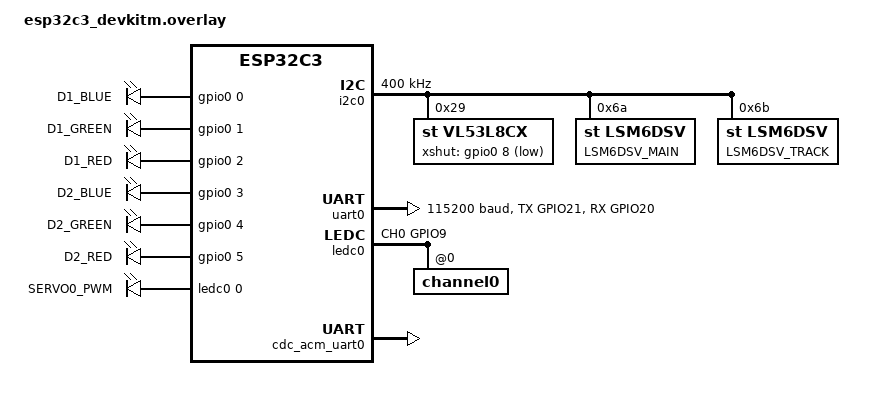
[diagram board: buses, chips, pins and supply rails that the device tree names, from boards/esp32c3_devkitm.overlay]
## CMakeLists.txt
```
cmake_minimum_required(VERSION 3.20.0)

find_package(Zephyr REQUIRED HINTS $ENV{ZEPHYR_BASE})
project(scanner VERSION 0.1.0)

# VL53L8CX ULD sources - clone from:
#   https://github.com/STMicroelectronics/VL53L8CX_ULD_driver
# and place under lib/vl53l8cx_uld/
set(VL53L8CX_ULD_DIR ${CMAKE_CURRENT_SOURCE_DIR}/lib/vl53l8cx_uld)
set(VL53L8CX_ULD_SOURCES
    ${VL53L8CX_ULD_DIR}/vl53l8cx_api.c
    ${VL53L8CX_ULD_DIR}/platform.c
    ${VL53L8CX_ULD_DIR}/vl53l8cx_plugin_detection_thresholds.c
    ${VL53L8CX_ULD_DIR}/vl53l8cx_plugin_motion_indicator.c
    ${VL53L8CX_ULD_DIR}/vl53l8cx_plugin_xtalk.c
)

target_sources(app PRIVATE
    src/main.c
    src/work_queues.c
    src/protocol.c
    src/wifi_mgr.c
    src/uart_aux.c
    src/led/led_ctrl.c
    src/servo/servo_ctrl.c
    src/vl53l8cx/vl53l8cx_driver.c
    src/lsm6dsv/lsm6dsv_driver.c
    src/output/data_output.c
    src/output/udp_out.c
    src/output/usb_serial.c
    ${VL53L8CX_ULD_SOURCES}
)

target_include_directories(app PRIVATE
    src
    src/vl53l8cx
    src/lsm6dsv
    src/led
    src/servo
    src/output
    ${VL53L8CX_ULD_DIR}
)

# Let the ULD find our platform header
target_compile_definitions(app PRIVATE
    VL53L8CX_ULD_CUSTOM_PLATFORM=1
)
```

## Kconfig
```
mainmenu "scann3d Configuration"

source "Kconfig.zephyr"

config SCANNER_WIFI_SSID
    string "WiFi SSID"
    default "my_network"

config SCANNER_WIFI_PSK
    string "WiFi password"
    default "my_password"

config SCANNER_UDP_HOST
    string "UDP destination IP address"
    default "192.168.1.100"

config SCANNER_UDP_PORT
    int "UDP destination port"
    default 5005
    range 1024 65535

config SCANNER_TOF_PERIOD_MS
    int "VL53L8CX sampling period (ms)"
    default 66
    help
      Minimum is ~34 ms for 8x8 @ 60 Hz integration, but 66 ms (15 Hz)
      gives safe headroom for I2C firmware overhead.

config SCANNER_IMU_PERIOD_MS
    int "LSM6DSV sampling period (ms)"
    default 1
    help
      1 ms -> 1 kHz. The LSM6DSV ODR caps at 7680 Hz internally; the
      Zephyr timer fires at 1 kHz and drains the FIFO each tick.

config SCANNER_STATUS_PERIOD_MS
    int "Status reporting (ms)"
    default 5000
    help
      5000 ms -> 5 s. The status will be reported periodically.


config OUTPUT_JSON
    bool "Set raw protocol frames out or JSON output"
    default y
    select JSON_LIBRARY
    help
      y: Output JSON
      n: Output raw frame buffer
```

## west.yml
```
manifest:
  name: scanner
  self:
    path: scanner

  projects:
    - name: zephyr
      url: https://github.com/zephyrproject-rtos/zephyr
      revision: v3.7.0
      import: true

  defaults:
    remote: upstream

  remotes:
    - name: upstream
      url-base: https://github.com/zephyrproject-rtos
```

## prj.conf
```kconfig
# ─── Core ────────────────────────────────────────────────────────────────────
CONFIG_MAIN_STACK_SIZE=4096
CONFIG_SYSTEM_WORKQUEUE_STACK_SIZE=4096
CONFIG_HEAP_MEM_POOL_SIZE=65536

# ─── Pin control (required by all ESP32-C3 peripheral nodes) ─────────────────
# Must be enabled before I2C, UART, and LEDC/PWM; the GPIO matrix routing
# is expressed entirely through pinctrl in Zephyr 3.4+.
CONFIG_PINCTRL=y

# ─── GPIO (LED channels, XSHUT) ──────────────────────────────────────────────
CONFIG_GPIO=y

# ─── I2C (VL53L8CX + LSM6DSV sensors) ───────────────────────────────────────
CONFIG_I2C=y

# ─── UART (IO20/IO21 auxiliary serial port) ───────────────────────────────────
CONFIG_SERIAL=y
CONFIG_UART_CONSOLE=y
CONFIG_UART_LINE_CTRL=y
CONFIG_UART_INTERRUPT_DRIVEN=y
CONFIG_CONSOLE=y

# ─── PWM - ESP32-C3 LEDC peripheral (servo on IO9) ───────────────────────────
CONFIG_PWM=y

# ─── Networking / WiFi / UDP ──────────────────────────────────────────────────
CONFIG_NETWORKING=y
CONFIG_NET_IPV4=y
CONFIG_NET_UDP=y
CONFIG_NET_SOCKETS=y
CONFIG_NET_CONFIG_SETTINGS=y
CONFIG_NET_CONFIG_NEED_IPV4=y

CONFIG_WIFI_ESP32=y
CONFIG_WIFI=y

# Static IP - change these to match your network, or enable DHCP below.
# CONFIG_NET_CONFIG_MY_IPV4_ADDR="192.168.1.200"
# CONFIG_NET_CONFIG_MY_IPV4_GW="192.168.1.1"
# CONFIG_NET_CONFIG_MY_IPV4_NETMASK="255.255.255.0"

# Set DHCP to y to obtain address automatically (overrides static IP above).
CONFIG_NET_DHCPV4=y

# WiFi credentials - override at build time with -DCONFIG_SCANNER_WIFI_SSID=...
# or edit directly here.
CONFIG_SCANNER_WIFI_SSID="your_ssid"
CONFIG_SCANNER_WIFI_PSK="your_password"

# UDP target host and port (where the PC receiver listens)
CONFIG_SCANNER_UDP_HOST="192.168.1.100"
CONFIG_SCANNER_UDP_PORT=5005

# ─── Logging ──────────────────────────────────────────────────────────────────
CONFIG_LOG=y
CONFIG_LOG_DEFAULT_LEVEL=3
CONFIG_PRINTK=y

# ─── Output ──────────────────────────────────────────────────────────────────
# Set CONFIG_OUTPUT_JSON=n to enable raw frame Output

# ─── Network buffer pools ────────────────────────────────────────────────────
CONFIG_NET_PKT_RX_COUNT=8
CONFIG_NET_PKT_TX_COUNT=16
CONFIG_NET_BUF_RX_COUNT=16
CONFIG_NET_BUF_TX_COUNT=32

# ─── Floating point (servo position calculation uses float) ──────────────────
# The ESP32-C3 (RISC-V RV32IMC) has no hardware FPU; soft-float is used.
# No extra Kconfig is needed - GCC emits soft-float by default for this target.

# ─── Misc ────────────────────────────────────────────────────────────────────
CONFIG_ENTROPY_DEVICE_RANDOM_GENERATOR=y
CONFIG_REBOOT=y
```

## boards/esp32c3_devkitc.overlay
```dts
/*
 * boards/esp32c3_devkitm.overlay
 *
 * scann3d v1 - ESP32-C3-WROOM-02-N4
 *
 * ┌─────────┬──────┬───────────────────────────────────────────────────────┐
 * │ Signal  │  IO  │ Notes                                                 │
 * ├─────────┼──────┼───────────────────────────────────────────────────────┤
 * │ D1_B    │  IO0 │ RGB LED 1 - Blue  (GPIO, active-high, via resistor)   │
 * │ D1_G    │  IO1 │ RGB LED 1 - Green (GPIO, active-high, via resistor)   │
 * │ D1_R    │  IO2 │ RGB LED 1 - Red   (GPIO, active-high, via resistor)   │
 * │ D2_B    │  IO3 │ RGB LED 2 - Blue  (GPIO, active-high, via resistor)   │
 * │ D2_G    │  IO4 │ RGB LED 2 - Green (GPIO, active-high, via resistor)   │
 * │ D2_R    │  IO5 │ RGB LED 2 - Red   (GPIO, active-high, via resistor)   │
 * │ SDA     │  IO6 │ I2C0 data  - VL53L8CX + LSM6DSV ×2                    │
 * │ SCL     │  IO7 │ I2C0 clock                                            │
 * │ I2C_RST │  IO8 │ VL53L8CX XSHUT (active-low GPIO)                      │
 * │ PWM     │  IO9 │ Servo - LEDC ch0, 50 Hz, 1–2 ms pulse                 │
 * │ EXT     │ IO10 │ RFU                                                   │
 * │ USB_D−  │ IO18 │ Native USB OTG - do not reassign                      │
 * │ USB_D+  │ IO19 │ Native USB OTG - do not reassign                      │
 * │ RXD     │ IO20 │ UART0 RX                                              │
 * │ TXD     │ IO21 │ UART0 TX                                              │
 * └─────────┴──────┴───────────────────────────────────────────────────────┘
 *
 * I2C address map (single bus, I2C0):
 *   0x29  VL53L8CX   ToF 8×8 ranging sensor
 *   0x6A  LSM6DSV    Main-board IMU  (SA0 -> GND)
 *   0x6B  LSM6DSV    Detachable tracker IMU (SA0 -> VDD)
 *
 * Pinctrl note (Zephyr 3.7 / ESP32-C3):
 *   All peripheral IO on ESP32-C3 routes through the GPIO matrix. Zephyr 3.4+
 *   handles this through the pinctrl subsystem. The deprecated sda-pin/scl-pin
 *   and gpio-pin/freq-hz/timer-index LEDC properties are NOT used here.
 *
 *   Pinmux macros are from:
 *     <zephyr/dt-bindings/pinctrl/esp32c3-pinctrl.h>
 *   Each macro encodes the GPIO number, the GPIO-matrix output signal, and the
 *   input signal in a single 32-bit word understood by the ESP32 pinctrl driver.
 */

#include <zephyr/dt-bindings/pinctrl/esp32c3-pinctrl.h>
#include <zephyr/dt-bindings/pwm/pwm.h>

/* ══════════════════════════════════════════════════════════════════════════════
 * 1. PINCTRL - map peripheral signals to physical GPIO pads
 * ══════════════════════════════════════════════════════════════════════════════
 */
&pinctrl {

    /* ── I2C0: SDA=IO6, SCL=IO7 ──────────────────────────────────────────── */
    i2c0_default: i2c0_default {
        group1 {
            pinmux = <I2C0_SDA_GPIO6>,
                     <I2C0_SCL_GPIO7>;
            bias-pull-up;       /* PCB has 4k7; this adds a weak MCU pull-up */
            drive-open-drain;   /* mandatory for I2C                         */
            output-high;        /* bus idles high (released)                 */
        };
    };

    /* ── LEDC channel 0: IO9 (servo PWM) ────────────────────────────────── */
    ledc0_default: ledc0_default {
        group1 {
            pinmux = <LEDC_CH0_GPIO9>;
            output-enable;
        };
    };

    /* ── UART0: TX=IO21, RX=IO20 ─────────────────────────────────────────── */
    uart0_default: uart0_default {
        group1 {
            pinmux = <UART0_TX_GPIO21>;
            output-enable;
        };
        group2 {
            pinmux = <UART0_RX_GPIO20>;
            bias-pull-up;   /* prevent RX floating when nothing is connected */
        };
    };
};

/* ══════════════════════════════════════════════════════════════════════════════
 * 2. I2C0 - single shared sensor bus  (400 kHz)
 * ══════════════════════════════════════════════════════════════════════════════
 *
 * All three sensors (VL53L8CX + two LSM6DSV) share this bus.
 * The VL53L8CX firmware upload (~84 KB) happens once at boot and takes
 * roughly 1.7 s at 400 kHz - sensors are polled by timers after that.
 */
&i2c0 {
    status = "okay";
    pinctrl-0 = <&i2c0_default>;
    pinctrl-names = "default";
    clock-frequency = <I2C_BITRATE_FAST>;   /* 400 kHz */

    vl53l8cx: vl53l8cx@29 {
        compatible = "st,vl53l8cx";
        reg = <0x29>;
        /*
         * IO8 drives XSHUT active-low. The platform layer pulses this pin
         * to perform a hardware reset during vl53l8cx_init().
         * Remove this property if XSHUT is hard-wired to 3V3 instead.
         */
        xshut-gpios = <&gpio0 8 GPIO_ACTIVE_LOW>;
        label = "VL53L8CX";
    };

    /* Main-board IMU - SA0 pulled to GND -> address 0x6A */
    imu0: lsm6dsv@6a {
        compatible = "st,lsm6dsv";
        reg = <0x6a>;
        int-pin = <1>;
        label = "LSM6DSV_MAIN";
        /* INT1 not wired to MCU on this rev; driver polls STATUS_REG */
    };

    /*
     * Detachable tracker IMU - SA0 pulled to VDD -> address 0x6B.
     * The DTS node is always present. lsm6dsv_driver.c probes WHO_AM_I
     * at init and every ~1024 timer ticks to handle hot-plug/unplug.
     */
    imu1: lsm6dsv@6b {
        compatible = "st,lsm6dsv";
        reg = <0x6b>;
        int-pin = <1>;
        label = "LSM6DSV_TRACK";
    };
};

/* ══════════════════════════════════════════════════════════════════════════════
 * 3. UART0 - auxiliary serial port (IO20 RX / IO21 TX)
 * ══════════════════════════════════════════════════════════════════════════════
 *
 * The application console is on USB Serial (see chosen node below), so
 * UART0 is free for any future use: host bridge, NMEA, external module, etc.
 * Configuring it here applies the pinctrl state at boot and reserves the pins.
 */
&uart0 {
    status = "okay";
    pinctrl-0 = <&uart0_default>;
    pinctrl-names = "default";
    current-speed = <115200>;
};

/* ══════════════════════════════════════════════════════════════════════════════
 * 4. LEDC - hardware PWM for servo on IO9
 * ══════════════════════════════════════════════════════════════════════════════
 *
 * ESP32-C3 LEDC operates in low-speed mode only (6 channels, 4 timers).
 * We declare channel 0 bound to timer 0. The GPIO routing is in pinctrl.
 *
 * Zephyr 3.7 espressif,esp32-ledc channel subnode properties:
 *   reg   - channel index (0–5)
 *   timer - which LEDC timer drives this channel (0–3)
 *
 * Period and duty cycle are set at runtime by pwm_set_dt() in servo_ctrl.c.
 * There is no freq-hz / gpio-pin / timer-index at this binding version -
 * those were pre-pinctrl properties removed in Zephyr 3.4.
 */
&ledc0 {
    status = "okay";
    pinctrl-0 = <&ledc0_default>;
    pinctrl-names = "default";
    #address-cells = <1>;
    #size-cells = <0>;

    channel0@0 {
        reg = <0>;
        timer = <0>;
    };
};

/* ══════════════════════════════════════════════════════════════════════════════
 * 5. Root-level nodes - LEDs, servo descriptor, aliases, chosen
 * ══════════════════════════════════════════════════════════════════════════════
 */
/ {

    /* ── RGB LEDs (GPIO-driven, no PWM) ───────────────────────────────────── */
    leds {
        compatible = "gpio-leds";

        /*
         * D1: IO0=B, IO1=G, IO2=R
         * Individual GPIO per channel; time-division muxing in led_ctrl.c
         * produces mixed colours (yellow, cyan, magenta, white) without PWM.
         */
        d1_b: d1_b { gpios = <&gpio0 0 GPIO_ACTIVE_HIGH>; label = "D1_BLUE";  };
        d1_g: d1_g { gpios = <&gpio0 1 GPIO_ACTIVE_HIGH>; label = "D1_GREEN"; };
        d1_r: d1_r { gpios = <&gpio0 2 GPIO_ACTIVE_HIGH>; label = "D1_RED";   };

        /* D2: IO3=B, IO4=G, IO5=R */
        d2_b: d2_b { gpios = <&gpio0 3 GPIO_ACTIVE_HIGH>; label = "D2_BLUE";  };
        d2_g: d2_g { gpios = <&gpio0 4 GPIO_ACTIVE_HIGH>; label = "D2_GREEN"; };
        d2_r: d2_r { gpios = <&gpio0 5 GPIO_ACTIVE_HIGH>; label = "D2_RED";   };
    };

    /* ── Servo PWM descriptor ─────────────────────────────────────────────── */
    /*
     * Uses compatible = "pwm-servo" (dts/bindings/pwm-servo.yaml).
     * This prevents Zephyr's pwm-leds driver from claiming the LEDC channel.
     *
     * servo_ctrl.c resolves this node with:
     *   PWM_DT_SPEC_GET(DT_NODELABEL(servo0_pwm))
     *
     * pwms specifier: <&ledc0  channel  period-ns  flags>
     *   period-ns = 20 000 000 -> 20 ms -> 50 Hz (standard RC servo)
     */
    pwm-servo {
        compatible = "pwm-servo";

        servo0_pwm: servo0_pwm {
            pwms = <&ledc0 0 PWM_MSEC(20) PWM_POLARITY_NORMAL>;
            label = "SERVO0_PWM";
        };
    };

    /* ── Aliases ──────────────────────────────────────────────────────────── */
    aliases {
        led-d1-b = &d1_b;
        led-d1-g = &d1_g;
        led-d1-r = &d1_r;
        led-d2-b = &d2_b;
        led-d2-g = &d2_g;
        led-d2-r = &d2_r;
        servo0   = &servo0_pwm;
        aux-uart = &uart0;
    };

    /* ── Chosen - application console on USB Serial ─────────────────────── */
    chosen {
        zephyr,console    = &usb_serial;
        zephyr,shell-uart = &usb_serial;
    };
};

&usb_serial {
    cdc_acm_uart0: cdc_acm_uart0 {
        compatible = "zephyr,cdc-acm-uart";
    };
};
```

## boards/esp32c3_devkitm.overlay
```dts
/*
 * boards/esp32c3_devkitm.overlay
 *
 * scann3d v1 - ESP32-C3-WROOM-02-N4
 *
 * ┌─────────┬──────┬───────────────────────────────────────────────────────┐
 * │ Signal  │  IO  │ Notes                                                 │
 * ├─────────┼──────┼───────────────────────────────────────────────────────┤
 * │ D1_B    │  IO0 │ RGB LED 1 - Blue  (GPIO, active-high, via resistor)   │
 * │ D1_G    │  IO1 │ RGB LED 1 - Green (GPIO, active-high, via resistor)   │
 * │ D1_R    │  IO2 │ RGB LED 1 - Red   (GPIO, active-high, via resistor)   │
 * │ D2_B    │  IO3 │ RGB LED 2 - Blue  (GPIO, active-high, via resistor)   │
 * │ D2_G    │  IO4 │ RGB LED 2 - Green (GPIO, active-high, via resistor)   │
 * │ D2_R    │  IO5 │ RGB LED 2 - Red   (GPIO, active-high, via resistor)   │
 * │ SDA     │  IO6 │ I2C0 data  - VL53L8CX + LSM6DSV ×2                  │
 * │ SCL     │  IO7 │ I2C0 clock                                           │
 * │ I2C_RST │  IO8 │ VL53L8CX XSHUT (active-low GPIO)                    │
 * │ PWM     │  IO9 │ Servo - LEDC ch0, 50 Hz, 1–2 ms pulse               │
 * │ EXT     │ IO10 │ RFU                                                  │
 * │ USB_D−  │ IO18 │ Native USB OTG - do not reassign                     │
 * │ USB_D+  │ IO19 │ Native USB OTG - do not reassign                     │
 * │ RXD     │ IO20 │ UART0 RX                                             │
 * │ TXD     │ IO21 │ UART0 TX                                             │
 * └─────────┴──────┴───────────────────────────────────────────────────────┘
 *
 * I2C address map (single bus, I2C0):
 *   0x29  VL53L8CX   ToF 8×8 ranging sensor
 *   0x6A  LSM6DSV    Main-board IMU  (SA0 → GND)
 *   0x6B  LSM6DSV    Detachable tracker IMU (SA0 → VDD)
 *
 * Pinctrl note (Zephyr 3.7 / ESP32-C3):
 *   All peripheral IO on ESP32-C3 routes through the GPIO matrix.  Zephyr 3.4+
 *   handles this through the pinctrl subsystem.  The deprecated sda-pin/scl-pin
 *   and gpio-pin/freq-hz/timer-index LEDC properties are NOT used here.
 *
 *   Pinmux macros are from:
 *     <zephyr/dt-bindings/pinctrl/esp32c3-pinctrl.h>
 *   Each macro encodes the GPIO number, the GPIO-matrix output signal, and the
 *   input signal in a single 32-bit word understood by the ESP32 pinctrl driver.
 */

#include <zephyr/dt-bindings/pinctrl/esp32c3-pinctrl.h>
#include <zephyr/dt-bindings/pwm/pwm.h>

/* ══════════════════════════════════════════════════════════════════════════════
 * 1. PINCTRL - map peripheral signals to physical GPIO pads
 * ══════════════════════════════════════════════════════════════════════════════
 */
&pinctrl {

    /* ── I2C0: SDA=IO6, SCL=IO7 ──────────────────────────────────────────── */
    i2c0_default: i2c0_default {
        group1 {
            pinmux = <I2C0_SDA_GPIO6>,
                     <I2C0_SCL_GPIO7>;
            bias-pull-up;       /* PCB has 4k7; this adds a weak MCU pull-up */
            drive-open-drain;   /* mandatory for I2C                         */
            output-high;        /* bus idles high (released)                 */
        };
    };

    /* ── LEDC channel 0: IO9 (servo PWM) ────────────────────────────────── */
    ledc0_default: ledc0_default {
        group1 {
            pinmux = <LEDC_CH0_GPIO9>;
            output-enable;
        };
    };

    /* ── UART0: TX=IO21, RX=IO20 ─────────────────────────────────────────── */
    uart0_default: uart0_default {
        group1 {
            pinmux = <UART0_TX_GPIO21>;
            output-enable;
        };
        group2 {
            pinmux = <UART0_RX_GPIO20>;
            bias-pull-up;   /* prevent RX floating when nothing is connected */
        };
    };
};

/* ══════════════════════════════════════════════════════════════════════════════
 * 2. I2C0 - single shared sensor bus  (400 kHz)
 * ══════════════════════════════════════════════════════════════════════════════
 *
 * All three sensors (VL53L8CX + two LSM6DSV) share this bus.
 * The VL53L8CX firmware upload (~84 KB) happens once at boot and takes
 * roughly 1.7 s at 400 kHz - sensors are polled by timers after that.
 */
&i2c0 {
    status = "okay";
    pinctrl-0 = <&i2c0_default>;
    pinctrl-names = "default";
    clock-frequency = <I2C_BITRATE_FAST>;   /* 400 kHz */

    vl53l8cx: vl53l8cx@29 {
        compatible = "st,vl53l8cx";
        reg = <0x29>;
        /*
         * IO8 drives XSHUT active-low.  The platform layer pulses this pin
         * to perform a hardware reset during vl53l8cx_init().
         * Remove this property if XSHUT is hard-wired to 3V3 instead.
         */
        xshut-gpios = <&gpio0 8 GPIO_ACTIVE_LOW>;
        label = "VL53L8CX";
    };

    /* Main-board IMU - SA0 pulled to GND → address 0x6A */
    imu0: lsm6dsv@6a {
        compatible = "st,lsm6dsv";
        reg = <0x6a>;
        int-pin = <1>;
        label = "LSM6DSV_MAIN";
        /* INT1 not wired to MCU on this rev; driver polls STATUS_REG */
    };

    /*
     * Detachable tracker IMU - SA0 pulled to VDD → address 0x6B.
     * The DTS node is always present.  lsm6dsv_driver.c probes WHO_AM_I
     * at init and every ~1024 timer ticks to handle hot-plug/unplug.
     */
    imu1: lsm6dsv@6b {
        compatible = "st,lsm6dsv";
        reg = <0x6b>;
        int-pin = <1>;
        label = "LSM6DSV_TRACK";
    };
};

/* ══════════════════════════════════════════════════════════════════════════════
 * 3. UART0 - auxiliary serial port (IO20 RX / IO21 TX)
 * ══════════════════════════════════════════════════════════════════════════════
 *
 * The application console is on USB CDC-ACM (see chosen node below), so
 * UART0 is free for any future use: host bridge, NMEA, external module, etc.
 * Configuring it here applies the pinctrl state at boot and reserves the pins.
 */
&uart0 {
    status = "okay";
    pinctrl-0 = <&uart0_default>;
    pinctrl-names = "default";
    current-speed = <115200>;
};

/* ══════════════════════════════════════════════════════════════════════════════
 * 4. LEDC - hardware PWM for servo on IO9
 * ══════════════════════════════════════════════════════════════════════════════
 *
 * ESP32-C3 LEDC operates in low-speed mode only (6 channels, 4 timers).
 * We declare channel 0 bound to timer 0.  The GPIO routing is in pinctrl.
 *
 * Zephyr 3.7 espressif,esp32-ledc channel subnode properties:
 *   reg   - channel index (0–5)
 *   timer - which LEDC timer drives this channel (0–3)
 *
 * Period and duty cycle are set at runtime by pwm_set_dt() in servo_ctrl.c.
 * There is no freq-hz / gpio-pin / timer-index at this binding version -
 * those were pre-pinctrl properties removed in Zephyr 3.4.
 */
&ledc0 {
    status = "okay";
    pinctrl-0 = <&ledc0_default>;
    pinctrl-names = "default";
    #address-cells = <1>;
    #size-cells = <0>;

    channel0@0 {
        reg = <0>;
        timer = <0>;
    };
};

/* ══════════════════════════════════════════════════════════════════════════════
 * 5. Root-level nodes - LEDs, servo descriptor, aliases, chosen
 * ══════════════════════════════════════════════════════════════════════════════
 */
/ {

    /* ── RGB LEDs (GPIO-driven, no PWM) ───────────────────────────────────── */
    leds {
        compatible = "gpio-leds";

        /*
         * D1: IO0=B, IO1=G, IO2=R
         * Individual GPIO per channel; time-division muxing in led_ctrl.c
         * produces mixed colours (yellow, cyan, magenta, white) without PWM.
         */
        d1_b: d1_b { gpios = <&gpio0 0 GPIO_ACTIVE_HIGH>; label = "D1_BLUE";  };
        d1_g: d1_g { gpios = <&gpio0 1 GPIO_ACTIVE_HIGH>; label = "D1_GREEN"; };
        d1_r: d1_r { gpios = <&gpio0 2 GPIO_ACTIVE_HIGH>; label = "D1_RED";   };

        /* D2: IO3=B, IO4=G, IO5=R */
        d2_b: d2_b { gpios = <&gpio0 3 GPIO_ACTIVE_HIGH>; label = "D2_BLUE";  };
        d2_g: d2_g { gpios = <&gpio0 4 GPIO_ACTIVE_HIGH>; label = "D2_GREEN"; };
        d2_r: d2_r { gpios = <&gpio0 5 GPIO_ACTIVE_HIGH>; label = "D2_RED";   };
    };

    /* ── Servo PWM descriptor ─────────────────────────────────────────────── */
    /*
     * Uses compatible = "pwm-servo" (dts/bindings/pwm-servo.yaml).
     * This prevents Zephyr's pwm-leds driver from claiming the LEDC channel.
     *
     * servo_ctrl.c resolves this node with:
     *   PWM_DT_SPEC_GET(DT_NODELABEL(servo0_pwm))
     *
     * pwms specifier: <&ledc0  channel  period-ns  flags>
     *   period-ns = 20 000 000 → 20 ms → 50 Hz (standard RC servo)
     */
    pwmleds {
        compatible = "pwm-leds";

        servo0_pwm: servo0_pwm {
            pwms = <&ledc0 0 PWM_MSEC(20) PWM_POLARITY_NORMAL>;
            label = "SERVO0_PWM";
        };
    };

    /* ── Aliases ──────────────────────────────────────────────────────────── */
    aliases {
        led-d1-b = &d1_b;
        led-d1-g = &d1_g;
        led-d1-r = &d1_r;
        led-d2-b = &d2_b;
        led-d2-g = &d2_g;
        led-d2-r = &d2_r;
        servo0   = &servo0_pwm;
        aux-uart = &uart0;
    };

    /* ── Chosen - application console on USB CDC-ACM ─────────────────────── */
    chosen {
        /*
         * CONFIG_UART_CONSOLE=n in prj.conf directs the Zephyr console away
         * from any UART.  These two entries route printk/log/shell output
         * through the USB CDC-ACM virtual serial port instead.
         * UART0 (IO20/IO21) remains available for application use.
         */
        zephyr,console    = &cdc_acm_uart0;
        zephyr,shell-uart = &cdc_acm_uart0;
    };
};

/* ══════════════════════════════════════════════════════════════════════════════
 * 6. USB CDC-ACM - virtual serial port over native USB OTG (IO18/IO19)
 * ══════════════════════════════════════════════════════════════════════════════
 */
&usb_serial {
    cdc_acm_uart0: cdc_acm_uart0 {
        compatible = "zephyr,cdc-acm-uart";
        label = "CDC_ACM_0";
    };
};
```

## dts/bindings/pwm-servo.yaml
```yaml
# Copyright (c) 2024 - pwm-servo binding
# SPDX-License-Identifier: Apache-2.0
#
# Minimal binding for a PWM-driven servo node.
# Lets us use PWM_DT_SPEC_GET() on child nodes without pulling in
# the gpio-leds / pwm-leds driver, which would try to own the channel.

description: PWM servo channel descriptor

compatible: "pwm-servo"

child-binding:
  description: Individual servo output
  properties:
    pwms:
      type: phandle-array
      required: true
      description: PWM specifier (controller, channel, period-ns, flags)
    label:
      type: string
```

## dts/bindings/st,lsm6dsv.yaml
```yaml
# Copyright (c) 2024 - st,lsm6dsv binding
# SPDX-License-Identifier: Apache-2.0

description: STMicroelectronics LSM6DSV iNEMO 6-axis IMU

compatible: "st,lsm6dsv"

include: i2c-device.yaml

properties:
  irq-gpios:
    type: phandle-array
    description: GPIO connected to INT1 or INT2.

  int-pin:
    type: int
    default: 1
    enum:
      - 1
      - 2
    description: >
      Select which physical interrupt pin (INT1=1, INT2=2) the driver
      should configure for data-ready notification.

  label:
    type: string
```

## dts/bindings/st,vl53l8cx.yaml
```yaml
# Copyright (c) 2024 - st,vl53l8cx binding
# SPDX-License-Identifier: Apache-2.0

description: STMicroelectronics VL53L8CX time-of-flight ranging sensor (8x8)

compatible: "st,vl53l8cx"

include: i2c-device.yaml

properties:
  xshut-gpios:
    type: phandle-array
    description: >
      GPIO connected to the XSHUT (active-low reset/shutdown) pin.
      Drive high to enable the device. Optional; if not present the
      driver assumes XSHUT is tied to VDD.

  label:
    type: string
```

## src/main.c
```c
/*
 * main.c
 *
 * scann3d - ESP32-C3-WROOM-02-N4
 *
 * Boots peripherals in order, hands sensor contexts to the work subsystem,
 * then arms the sampling timers. All periodic work runs via k_timer ->
 * k_work -> system workqueue (see work_queues.c).
 *
 * Data flow:
 *   work handler -> proto_encode() -> data_output_push() -> output thread
 *                                                          ├─ udp_out_send()
 *                                                          └─ usb_serial_write()
 */

#include <zephyr/kernel.h>
#include <zephyr/logging/log.h>

#include "work_queues.h"
#include "protocol.h"
#include "vl53l8cx/vl53l8cx_driver.h"
#include "lsm6dsv/lsm6dsv_driver.h"
#include "output/data_output.h"
#include "led/led_ctrl.h"
#include "servo/servo_ctrl.h"
#include "uart_aux.h"
#include "wifi_mgr.h"

LOG_MODULE_REGISTER(main, LOG_LEVEL_INF);

int main(void)
{
    LOG_INF("=== scann3d booting ===");

    /* 1. LED controller - init first so we can signal status visually */
    if (led_ctrl_init() != 0) {
        LOG_ERR("LED init failed");
        /* Non-fatal - continue booting */
    }

    /* Boot indicator: both LEDs white, fast blink */
    led_set_blink(LED_D1, LED_COLOR_WHITE, 100);
    led_set_blink(LED_D2, LED_COLOR_WHITE, 100);

    /* 2. Servo controller */
    if (servo_ctrl_init() != 0) {
        LOG_ERR("Servo init failed");
        led_set_color(LED_D2, LED_COLOR_CYAN);     /* steady cyan = fatal */
    }

    /* 3. Auxiliary UART0 (IO20/IO21 - available for future use) */
    if (uart_aux_init() != 0) {
        LOG_WRN("Auxiliary UART init failed (non-fatal)");
        led_set_color(LED_D2, LED_COLOR_MAGENTA);  /* steady magenta = fatal */
    }

    /* 4. Output subsystem (USB serial + UDP socket) */
    if (data_output_init() != 0) {
        LOG_ERR("Output init failed - halting");
        led_set_color(LED_D2, LED_COLOR_RED);      /* steady red = fatal */
        return -1;
    }

    /* 5. WiFi - non-fatal; UDP won't work but USB-serial will */
    led_set_blink(LED_D1, LED_COLOR_YELLOW, 500);  /* yellow blink = connecting */
    if (wifi_mgr_connect() != 0) {
        LOG_WRN("WiFi unavailable - UDP output disabled");
        led_set_blink(LED_D1, LED_COLOR_RED, 500); /* blinking red = no WiFi */
    } else {
        led_set_color(LED_D1, LED_COLOR_GREEN);    /* steady green = WiFi up */
    }

    /* 6. Sensors */
    vl53l8cx_ctx_t *tof_ctx  = vl53l8cx_driver_init(CONFIG_SCANNER_TOF_PERIOD_MS);
    if (!tof_ctx) {
        LOG_ERR("VL53L8CX init failed");
    }

    lsm6dsv_ctx_t *imu0_ctx = lsm6dsv_init(IMU_MAIN);
    if (!imu0_ctx) {
        LOG_ERR("LSM6DSV main init failed");
    }

    lsm6dsv_ctx_t *imu1_ctx = lsm6dsv_init(IMU_TRACK);
    if (!imu1_ctx) {
        LOG_WRN("LSM6DSV tracker not present (detachable - OK)");
    }

    /* D2 indicates sensor readiness: green = ToF+IMU OK, yellow = ToF only, blue = IMU only */
    if (tof_ctx && imu0_ctx) {
        imu1_ctx ? led_set_blink(LED_D2, LED_COLOR_GREEN, 500)
                 : led_set_color(LED_D2, LED_COLOR_GREEN);
    } else if (tof_ctx) {
        led_set_color(LED_D2, LED_COLOR_YELLOW);
    } else if (imu0_ctx) {
        imu1_ctx ? led_set_blink(LED_D2, LED_COLOR_BLUE, 500)
                 : led_set_color(LED_D2, LED_COLOR_BLUE);
    }

    /* 7. Hand contexts to the work subsystem and start timers */
    work_queues_init(tof_ctx, imu0_ctx, imu1_ctx);
    work_queues_start(CONFIG_SCANNER_IMU_PERIOD_MS,
                      CONFIG_SCANNER_TOF_PERIOD_MS,
                      CONFIG_SCANNER_STATUS_PERIOD_MS);

    /* Wait a few seconds and turn off LEDs for darkroom conditions */
    k_sleep(K_SECONDS(3));
    led_set_color(LED_D1, LED_COLOR_OFF);
    led_set_color(LED_D2, LED_COLOR_OFF);

    /* Main thread has nothing left to do - everything runs via timers/work. */
    while (true) {
        k_sleep(K_FOREVER);
    }

    return 0;
}
```

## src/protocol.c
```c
/*
 * protocol.c - Frame encoder and CRC-16/CCITT-FALSE implementation.
 */

#include "protocol.h"
#include <string.h>
#include <zephyr/sys/byteorder.h>

#if defined(CONFIG_OUTPUT_JSON)

static uint16_t proto_encode_json(uint8_t *buf, size_t buf_size,
                                  scanner_pkt_type_t type, uint16_t seq,
                                  const void *payload, uint16_t payload_len)
{
    // JSON ignores sequence number since we already have timestamps 
    ARG_UNUSED(seq);

    int ret = 0;
    char json_buf[JSON_BUFFER_MAX];

    // Clear the temporary JSON buffer
    memset(json_buf, 0, JSON_BUFFER_MAX);

    switch (type) {
        case PKT_TOF: {
            tof_json_t j;
            memcpy(&j, payload, sizeof(tof_payload_t));
            j.distance_mm_len        = TOF_ZONES;
            j.sigma_mm_len           = TOF_ZONES;
            j.status_len             = TOF_ZONES;
            j.nb_target_detected_len = TOF_ZONES;
            ret = json_obj_encode_buf(tof_payload_descr,
                                      ARRAY_SIZE(tof_payload_descr),
                                      &j, json_buf, sizeof(json_buf));
            break;
        }
        case PKT_IMU0:
        case PKT_IMU1: {
            imu_json_t j;
            memcpy(&j, payload, sizeof(imu_payload_t));
            j.imu_num = type - PKT_IMU0;
            ret = json_obj_encode_buf(imu_payload_descr,
                                      ARRAY_SIZE(imu_payload_descr),
                                      &j, json_buf, sizeof(json_buf));
            break;
        }
        case PKT_STATUS: {
            const status_payload_t *s = payload;
            status_json_t j = {
                .timestamp_ms = s->timestamp_ms,
                .tof_ok       = s->tof_ok,
                .imu0_ok      = s->imu0_ok,
                .imu1_ok      = s->imu1_ok,
                .wifi_ok      = s->wifi_ok,
            };
            ret = json_obj_encode_buf(status_payload_descr,
                                      ARRAY_SIZE(status_payload_descr),
                                      &j, json_buf, sizeof(json_buf));
            break;
        }
        default:
            return 0;
    }

    if (ret < 0) {
        return 0;
    }

    /* json_buf now holds the encoded string; copy to caller's buf if it fits */
    size_t json_len = strlen(json_buf);
    if (json_len + 1 > buf_size) {
        return 0;
    }
    memcpy(buf, json_buf, json_len + 1);
    return (uint16_t)json_len;
}

#else

/* CRC-16/CCITT-FALSE  (poly=0x1021, init=0xFFFF, refin=false, refout=false) */
static uint16_t crc16_ccitt(const uint8_t *data, size_t len)
{
    uint16_t crc = 0xFFFFu;
    for (size_t i = 0; i < len; i++) {
        crc ^= (uint16_t)data[i] << 8;
        for (int b = 0; b < 8; b++) {
            crc = (crc & 0x8000u) ? (crc << 1) ^ 0x1021u : (crc << 1);
        }
    }
    return crc;
}

#endif /* CONFIG_OUTPUT_JSON */

uint16_t proto_encode(uint8_t *buf, size_t buf_size,
                      scanner_pkt_type_t type, uint16_t seq,
                      const void *payload, uint16_t payload_len)
{
#if defined(CONFIG_OUTPUT_JSON)
    return proto_encode_json(buf, buf_size, type, seq, payload, payload_len);
#else
    uint16_t total = PROTO_OVERHEAD + payload_len;
    if (buf_size < total) {
        return 0;
    }

    uint8_t *p = buf;

    /* Magic */
    *p++ = PROTO_MAGIC_0;
    *p++ = PROTO_MAGIC_1;

    /* Type */
    *p++ = (uint8_t)type;

    /* Sequence */
    sys_put_le16(seq, p); p += 2;

    /* Payload length */
    sys_put_le16(payload_len, p); p += 2;

    /* Payload */
    memcpy(p, payload, payload_len);
    p += payload_len;

    /* CRC over [type(1) + seq(2) + len(2) + payload(N)] */
    uint16_t crc = crc16_ccitt(buf + 2, 3 + 2 + payload_len);
    sys_put_le16(crc, p);

    return total;
#endif
}
```

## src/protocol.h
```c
/*
 * protocol.h - Binary packet format shared across UDP and USB-serial streams.
 *
 * Wire layout (all multi-byte fields are little-endian):
 *
 *   [0x55 0xAA]   2 B  magic / frame-start
 *   [type]        1 B  packet type (enum scanner_pkt_type)
 *   [seq]         2 B  rolling sequence number (per type)
 *   [len]         2 B  payload length in bytes
 *   [payload]     N B  type-specific payload (see structs below)
 *   [crc16]       2 B  CRC-16/CCITT over bytes [type..payload]
 *
 * Total overhead: 9 bytes per frame.
 */

#ifndef SCANNER_PROTOCOL_H
#define SCANNER_PROTOCOL_H

#include <stdint.h>
#include <stddef.h>
#include <zephyr/data/json.h>

#ifdef __cplusplus
extern "C" {
#endif

/* ── Frame constants ──────────────────────────────────────────────────────── */
#define PROTO_MAGIC_0   0x55u
#define PROTO_MAGIC_1   0xAAu
#define PROTO_HDR_LEN   7u   /* magic(2)+type(1)+seq(2)+len(2) */
#define PROTO_FTR_LEN   2u   /* crc16(2) */
#define PROTO_OVERHEAD  (PROTO_HDR_LEN + PROTO_FTR_LEN)

/* ── Packet types ─────────────────────────────────────────────────────────── */
typedef enum __attribute__((packed)) {
    PKT_TOF   = 0x01,   /* VL53L8CX 8×8 ranging frame           */
    PKT_IMU0  = 0x02,   /* LSM6DSV main board (fixed)           */
    PKT_IMU1  = 0x03,   /* LSM6DSV tracker (detachable)         */
    PKT_SER0  = 0x04,   /* Servo 0                              */
    PKT_STATUS= 0xFF,   /* heartbeat / error flags              */
} scanner_pkt_type_t;

/* ── ToF payload (329 bytes) ──────────────────────────────────────────────── */
#define TOF_ZONES  64u   /* 8×8 */

typedef struct __attribute__((packed)) {
    uint32_t timestamp_ms;          /* k_uptime_get_32()                  */
    uint16_t distance_mm[TOF_ZONES];/* centre distance per zone, mm       */
    uint16_t sigma_mm[TOF_ZONES];   /* ranging sigma per zone, mm         */
    uint8_t  status[TOF_ZONES];     /* per-zone ranging status (ULD codes)*/
    uint8_t  nb_target_detected[TOF_ZONES]; /* targets per zone           */
} tof_payload_t;

/* ── IMU payload (20 bytes) ───────────────────────────────────────────────── */
typedef struct __attribute__((packed)) {
    uint32_t timestamp_ms;
    int16_t  accel_x;   /* raw 16-bit - scale = ±16 g / 32768             */
    int16_t  accel_y;
    int16_t  accel_z;
    int16_t  gyro_x;    /* raw 16-bit - scale = ±2000 dps / 32768         */
    int16_t  gyro_y;
    int16_t  gyro_z;
    int16_t  temp_raw;  /* LSM6DSV: (raw / 256) + 25 °C                   */
} imu_payload_t;

/* ── Status payload (4 bytes) ────────────────────────────────────────────── */
typedef struct __attribute__((packed)) {
    uint32_t timestamp_ms;
    uint8_t  tof_ok   : 1;
    uint8_t  imu0_ok  : 1;
    uint8_t  imu1_ok  : 1;
    uint8_t  wifi_ok  : 1;
    uint8_t  _rsvd    : 4;
} status_payload_t;

/* ── Servo payload (72 bytes) ────────────────────────────────────────────── */
typedef struct __attribute__((packed)) {
    uint32_t timestamp_ms;          /* k_uptime_get_32()                  */
    float    position;              /* float value from -1.0 to +1.0      */
    uint8_t  servo_num;             /* servo position                     */
} servo_payload_t;

#if defined(CONFIG_OUTPUT_JSON)

// FIXME: Buffer can be smaller
#define JSON_BUFFER_MAX  1024
#define FRAME_BUF_MAX    (JSON_BUFFER_MAX)

/* ── ToF JSON view ───────────────────────────────────────────────────────── */
typedef struct {
    uint32_t timestamp_ms;
    uint16_t distance_mm[TOF_ZONES];
    uint16_t sigma_mm[TOF_ZONES];
    uint8_t  status[TOF_ZONES];
    uint8_t  nb_target_detected[TOF_ZONES];
    size_t   distance_mm_len;
    size_t   sigma_mm_len;
    size_t   status_len;
    size_t   nb_target_detected_len;
} tof_json_t;

static const struct json_obj_descr tof_payload_descr[] = {
    JSON_OBJ_DESCR_PRIM(tof_json_t, timestamp_ms,        JSON_TOK_NUMBER),
    JSON_OBJ_DESCR_ARRAY(tof_json_t, distance_mm,        TOF_ZONES, distance_mm_len,        JSON_TOK_NUMBER),
    JSON_OBJ_DESCR_ARRAY(tof_json_t, sigma_mm,           TOF_ZONES, sigma_mm_len,           JSON_TOK_NUMBER),
    JSON_OBJ_DESCR_ARRAY(tof_json_t, status,             TOF_ZONES, status_len,             JSON_TOK_NUMBER),
    JSON_OBJ_DESCR_ARRAY(tof_json_t, nb_target_detected, TOF_ZONES, nb_target_detected_len, JSON_TOK_NUMBER),
};

/* ── IMU JSON view (shared for IMU0 and IMU1) ────────────────────────────── */
typedef struct {
    uint32_t timestamp_ms;
    int16_t  accel_x;   /* raw 16-bit - scale = ±16 g / 32768             */
    int16_t  accel_y;
    int16_t  accel_z;
    int16_t  gyro_x;    /* raw 16-bit - scale = ±2000 dps / 32768         */
    int16_t  gyro_y;
    int16_t  gyro_z;
    int16_t  temp_raw;  /* LSM6DSV: (raw / 256) + 25 °C                   */
    uint8_t  imu_num;
} imu_json_t;

static const struct json_obj_descr imu_payload_descr[] = {
    JSON_OBJ_DESCR_PRIM(imu_json_t, timestamp_ms, JSON_TOK_NUMBER),
    JSON_OBJ_DESCR_PRIM(imu_json_t, accel_x,      JSON_TOK_NUMBER),
    JSON_OBJ_DESCR_PRIM(imu_json_t, accel_y,      JSON_TOK_NUMBER),
    JSON_OBJ_DESCR_PRIM(imu_json_t, accel_z,      JSON_TOK_NUMBER),
    JSON_OBJ_DESCR_PRIM(imu_json_t, gyro_x,       JSON_TOK_NUMBER),
    JSON_OBJ_DESCR_PRIM(imu_json_t, gyro_y,       JSON_TOK_NUMBER),
    JSON_OBJ_DESCR_PRIM(imu_json_t, gyro_z,       JSON_TOK_NUMBER),
    JSON_OBJ_DESCR_PRIM(imu_json_t, temp_raw,     JSON_TOK_NUMBER),
    JSON_OBJ_DESCR_PRIM(imu_json_t, imu_num,      JSON_TOK_NUMBER),
};

/* ── Status JSON view ────────────────────────────────────────────────────── */
/* Bitfields can't be described directly — flatten into a wrapper */
typedef struct {
    uint32_t timestamp_ms;
    int      tof_ok;
    int      imu0_ok;
    int      imu1_ok;
    int      wifi_ok;
} status_json_t;

static const struct json_obj_descr status_payload_descr[] = {
    JSON_OBJ_DESCR_PRIM(status_json_t, timestamp_ms, JSON_TOK_NUMBER),
    JSON_OBJ_DESCR_PRIM(status_json_t, tof_ok,       JSON_TOK_NUMBER),
    JSON_OBJ_DESCR_PRIM(status_json_t, imu0_ok,      JSON_TOK_NUMBER),
    JSON_OBJ_DESCR_PRIM(status_json_t, imu1_ok,      JSON_TOK_NUMBER),
    JSON_OBJ_DESCR_PRIM(status_json_t, wifi_ok,      JSON_TOK_NUMBER),
};

/* ── Servo JSON view ─────────────────────────────────────────────────────── */
static const struct json_obj_descr servo_payload_descr[] = {
    JSON_OBJ_DESCR_PRIM(servo_payload_t, timestamp_ms, JSON_TOK_NUMBER),
    JSON_OBJ_DESCR_PRIM(servo_payload_t, position,     JSON_TOK_NUMBER),
    JSON_OBJ_DESCR_PRIM(servo_payload_t, servo_num,    JSON_TOK_NUMBER),
};

# else

/* ── Maximum serialised frame size ───────────────────────────────────────── */
#define FRAME_BUF_MAX    (PROTO_OVERHEAD + sizeof(tof_payload_t))

#endif /* CONFIG_OUTPUT_JSON */

/* ── Utility: build a complete frame into buf[], return total length ─────── */
uint16_t proto_encode(uint8_t *buf, size_t buf_size,
                      scanner_pkt_type_t type, uint16_t seq,
                      const void *payload, uint16_t payload_len);

#ifdef __cplusplus
}
#endif
#endif /* SCANNER_PROTOCOL_H */
```

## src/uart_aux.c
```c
/*
 * uart_aux.c
 *
 * Interrupt-driven driver for the auxiliary UART0 (IO20 RX / IO21 TX).
 *
 * The RX ISR pushes received bytes into uart_aux_rx_msgq. If the queue is
 * full, bytes are silently dropped - the application should drain the queue
 * frequently. TX uses uart_fifo_fill() in a loop; it is blocking in the
 * sense that it yields until all bytes are accepted by the hardware FIFO,
 * but it does not busy-wait - k_yield() gives other threads CPU time.
 */

#include "uart_aux.h"

#include <zephyr/kernel.h>
#include <zephyr/device.h>
#include <zephyr/drivers/uart.h>
#include <zephyr/logging/log.h>

LOG_MODULE_REGISTER(uart_aux, LOG_LEVEL_INF);

#define UART0_NODE       DT_ALIAS(aux_uart)    /* &uart0 via alias in overlay */
#define RX_QUEUE_DEPTH   256u

/* ── RX message queue (1-byte items, ISR -> thread) ─────────────────────── */
K_MSGQ_DEFINE(uart_aux_rx_msgq, sizeof(uint8_t), RX_QUEUE_DEPTH, 1);

static const struct device *_uart_dev;

/* ── ISR ─────────────────────────────────────────────────────────────────── */
static void uart_isr(const struct device *dev, void *user_data)
{
    ARG_UNUSED(user_data);

    while (uart_irq_update(dev) && uart_irq_is_pending(dev)) {

        if (uart_irq_rx_ready(dev)) {
            uint8_t byte;
            int n = uart_fifo_read(dev, &byte, 1);
            if (n == 1) {
                /* k_msgq_put is ISR-safe with K_NO_WAIT */
                k_msgq_put(&uart_aux_rx_msgq, &byte, K_NO_WAIT);
            }
        }

        /* TX IRQ - not used; we fill the FIFO directly in uart_aux_write() */
        if (uart_irq_tx_ready(dev)) {
            uart_irq_tx_disable(dev);
        }
    }
}

/* ── Public API ───────────────────────────────────────────────────────────── */
int uart_aux_init(void)
{
    _uart_dev = DEVICE_DT_GET(UART0_NODE);
    if (!device_is_ready(_uart_dev)) {
        LOG_ERR("UART0 (aux) device not ready");
        return -ENODEV;
    }

    uart_irq_callback_set(_uart_dev, uart_isr);
    uart_irq_rx_enable(_uart_dev);

    LOG_INF("Auxiliary UART0 ready (IO20 RX / IO21 TX, 115200 baud)");
    return 0;
}

void uart_aux_write(const uint8_t *buf, size_t len)
{
    if (!_uart_dev || len == 0u) {
        return;
    }

    size_t sent = 0u;
    while (sent < len) {
        int n = uart_fifo_fill(_uart_dev, buf + sent, (int)(len - sent));
        if (n <= 0) {
            k_yield();   /* TX FIFO full - yield, don't spin */
            continue;
        }
        sent += (size_t)n;
    }
}
```

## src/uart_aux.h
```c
/*
 * uart_aux.h
 *
 * Auxiliary UART (IO20 RX / IO21 TX) interface.
 *
 * UART0 is distinct from the USB CDC-ACM console. This module provides a
 * simple write path so any subsystem can send bytes out UART0 without
 * duplicating the device lookup. Receive is interrupt-driven and delivered
 * through a k_msgq for non-blocking consumption by any thread.
 *
 * Usage - transmit:
 *   uart_aux_write(buf, len);
 *
 * Usage - receive (one byte at a time from the ISR ring):
 *   uint8_t byte;
 *   while (k_msgq_get(&uart_aux_rx_msgq, &byte, K_NO_WAIT) == 0) {
 *       // process byte
 *   }
 */

#ifndef UART_AUX_H
#define UART_AUX_H

#include <stdint.h>
#include <stddef.h>
#include <zephyr/kernel.h>

#ifdef __cplusplus
extern "C" {
#endif

/* Receive queue - filled by ISR, drained by application threads */
extern struct k_msgq uart_aux_rx_msgq;

/**
 * @brief  Initialise UART0 interrupt handler and RX queue.
 * @return 0 on success, negative errno on failure.
 */
int uart_aux_init(void);

/**
 * @brief  Transmit @p len bytes from @p buf over UART0.
 *         Blocks until all bytes are accepted by the TX FIFO.
 */
void uart_aux_write(const uint8_t *buf, size_t len);

#ifdef __cplusplus
}
#endif
#endif /* UART_AUX_H */
```

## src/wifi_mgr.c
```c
/*
 * wifi_mgr.c
 *
 * Uses Zephyr's WiFi management API (introduced in Zephyr 3.4) to connect
 * the ESP32-C3 to the configured AP. Blocks until the IP stack is up or
 * a 30-second timeout expires.
 */

#include "wifi_mgr.h"
#include <zephyr/kernel.h>
#include <zephyr/net/net_if.h>
#include <zephyr/net/wifi_mgmt.h>
#include <zephyr/net/net_event.h>
#include <zephyr/net/dhcpv4.h>
#include <zephyr/logging/log.h>
#include <string.h>

LOG_MODULE_REGISTER(wifi_mgr, LOG_LEVEL_INF);

/* ── Event semaphore ─────────────────────────────────────────────────────── */
static K_SEM_DEFINE(wifi_connected_sem, 0, 1);
static K_SEM_DEFINE(ip_obtained_sem,    0, 1);

/* ── Net-mgmt callback ───────────────────────────────────────────────────── */
static struct net_mgmt_event_callback _wifi_cb;
static struct net_mgmt_event_callback _ipv4_cb;

static void wifi_event_handler(struct net_mgmt_event_callback *cb,
                                uint64_t mgmt_event,
                                struct net_if *iface)
{
    ARG_UNUSED(cb);
    ARG_UNUSED(iface);

    switch (mgmt_event) {
    case NET_EVENT_WIFI_CONNECT_RESULT:
        LOG_INF("WiFi associated");
        k_sem_give(&wifi_connected_sem);
        break;
    case NET_EVENT_WIFI_DISCONNECT_RESULT:
        LOG_WRN("WiFi disconnected");
        break;
    default:
        break;
    }
}

static void ipv4_event_handler(struct net_mgmt_event_callback *cb,
                                uint64_t mgmt_event,
                                struct net_if *iface)
{
    ARG_UNUSED(cb);

    if (mgmt_event == NET_EVENT_IPV4_ADDR_ADD) {
        /* Log obtained address */
        struct net_if_ipv4 *ipv4 = iface->config.ip.ipv4;
        if (ipv4) {
            LOG_INF("Connected to SSID: %s", CONFIG_SCANNER_WIFI_SSID);

            // Get IP address
            char addr_str[NET_IPV4_ADDR_LEN];
            net_addr_ntop(AF_INET,
                          &ipv4->unicast[0].ipv4.address.in_addr,
                          addr_str, sizeof(addr_str));
            LOG_INF("IP address: %s", addr_str);

            // Get subnet mask
            char mask_str[NET_IPV4_ADDR_LEN];
            net_addr_ntop(AF_INET,
                          &ipv4->unicast[0].netmask,
                          mask_str, sizeof(mask_str));
            LOG_INF("Subnet mask: %s", mask_str);

            // Get gateway
            char gw_str[NET_IPV4_ADDR_LEN];
            net_addr_ntop(AF_INET,
                          &ipv4->gw,
                          gw_str, sizeof(gw_str));
            LOG_INF("Gateway: %s", gw_str);
        }
        k_sem_give(&ip_obtained_sem);
    }
}

/* ── Public API ──────────────────────────────────────────────────────────── */
int wifi_mgr_connect(void)
{
    struct net_if *iface = net_if_get_default();
    if (!iface) {
        LOG_ERR("No network interface");
        return -ENODEV;
    }

    /* Register event callbacks */
    net_mgmt_init_event_callback(&_wifi_cb, wifi_event_handler,
                                  NET_EVENT_WIFI_CONNECT_RESULT |
                                  NET_EVENT_WIFI_DISCONNECT_RESULT);
    net_mgmt_add_event_callback(&_wifi_cb);

    net_mgmt_init_event_callback(&_ipv4_cb, ipv4_event_handler,
                                  NET_EVENT_IPV4_ADDR_ADD);
    net_mgmt_add_event_callback(&_ipv4_cb);

    /* Issue connect request */
    struct wifi_connect_req_params params = {
        .ssid        = (const uint8_t *)CONFIG_SCANNER_WIFI_SSID,
        .ssid_length = strlen(CONFIG_SCANNER_WIFI_SSID),
        .psk         = (const uint8_t *)CONFIG_SCANNER_WIFI_PSK,
        .psk_length  = strlen(CONFIG_SCANNER_WIFI_PSK),
        .channel     = WIFI_CHANNEL_ANY,
        .security    = WIFI_SECURITY_TYPE_PSK,
        .band        = WIFI_FREQ_BAND_2_4_GHZ,
        .mfp         = WIFI_MFP_OPTIONAL,
    };

    LOG_INF("Connecting to SSID: %s", CONFIG_SCANNER_WIFI_SSID);
    int rc = net_mgmt(NET_REQUEST_WIFI_CONNECT, iface, &params, sizeof(params));
    if (rc != 0) {
        LOG_ERR("net_mgmt connect failed: %d", rc);
        return rc;
    }

    /* Wait for association (10 s) */
    if (k_sem_take(&wifi_connected_sem, K_SECONDS(10)) != 0) {
        LOG_ERR("WiFi association timeout");
        return -ETIMEDOUT;
    }

    /* Start DHCP */
    net_dhcpv4_start(iface);

    /* Wait for IP (20 s) */
    if (k_sem_take(&ip_obtained_sem, K_SECONDS(20)) != 0) {
        LOG_ERR("DHCP timeout");
        return -ETIMEDOUT;
    }

    return 0;
}
```

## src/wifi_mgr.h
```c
/* wifi_mgr.h - simple blocking WiFi connect helper */
#ifndef WIFI_MGR_H
#define WIFI_MGR_H
/**
 * @brief  Connect to the configured AP. Blocks until associated or timeout.
 * @return 0 on success, negative errno on failure.
 */
int wifi_mgr_connect(void);
#endif
```
